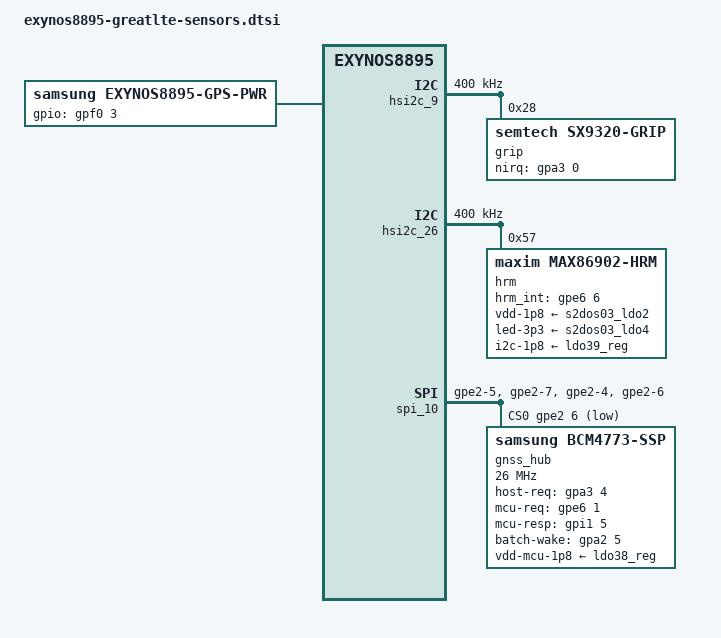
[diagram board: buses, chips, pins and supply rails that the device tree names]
// SPDX-License-Identifier: GPL-2.0 OR BSD-3-Clause
/*
 * Samsung Galaxy Note 8 (SM-N950N) sensors
 */

#include <dt-bindings/gpio/gpio.h>

/ {
	gps-pwr {
		compatible = "samsung,exynos8895-gps-pwr";
		pinctrl-names = "default";
		pinctrl-0 = <&ssp_gps_pwr_en>;
		gpios = <&gpf0 3 GPIO_ACTIVE_HIGH>;
	};
};

&hsi2c_9 {
	#address-cells = <1>;
	#size-cells = <0>;
	clock-frequency = <400000>;
	status = "okay";

	grip@28 {
		compatible = "semtech,sx9320-grip";
		reg = <0x28>;
		pinctrl-names = "default";
		pinctrl-0 = <&grip_irq>;
		sx9320,nirq-gpio = <&gpa3 0 GPIO_ACTIVE_HIGH>;
		sx9320,phen = <0x03>;
		sx9320,gain = <0x01>;
		sx9320,again = <0x08>;
		sx9320,scan_period = <0x16>;
		sx9320,range = <0x00>;
		sx9320,sampling_freq = <0x05>;
		sx9320,resolution = <0x07>;
		sx9320,rawfilt = <0x01>;
		sx9320,hyst = <0x01>;
		sx9320,avgposfilt = <0x04>;
		sx9320,avgnegfilt = <0x01>;
		sx9320,avgthresh = <0x20>;
		sx9320,debouncer = <0x01>;
		sx9320,normal_thd = <0x1b>;
		sx9320,afeph0 = <0x00>;
		sx9320,afeph1 = <0x00>;
		sx9320,afeph2 = <0x00>;
		sx9320,afeph3 = <0x04>;
	};
};

&hsi2c_26 {
	#address-cells = <1>;
	#size-cells = <0>;
	clock-frequency = <400000>;
	status = "okay";

	hrm@57 {
		compatible = "maxim,max86902-hrm";
		reg = <0x57>;
		pinctrl-names = "default", "sleep", "idle";
		pinctrl-0 = <&hrm_irq>;
		pinctrl-1 = <&hrm_irqsleep>;
		pinctrl-2 = <&hrm_irqidle>;
		hrmsensor,hrm_int-gpio = <&gpe6 6 GPIO_ACTIVE_HIGH>;
		hrmsensor,vdd_1p8 = "HRM_1.8V_AP";
		hrmsensor,led_3p3 = "HRM_3.3V_AP";
		hrmsensor,i2c_1p8 = "VDD_NFC_1P8";
		vdd-1p8-supply = <&s2dos03_ldo2>;
		led-3p3-supply = <&s2dos03_ldo4>;
		i2c-1p8-supply = <&ldo39_reg>;
	};
};

&pinctrl_alive {
	ssp_host_req: ssp-host-req-pins {
		samsung,pins = "gpa3-4";
		samsung,pin-function = <EXYNOS_PIN_FUNC_EINT>;
		samsung,pin-pud = <EXYNOS_PIN_PULL_DOWN>;
		samsung,pin-drv = <EXYNOS7_PIN_DRV_LV4>;
	};

	ssp_batch_wake_irq: ssp-batch-wake-irq-pins {
		samsung,pins = "gpa2-5";
		samsung,pin-function = <EXYNOS_PIN_FUNC_EINT>;
		samsung,pin-pud = <EXYNOS_PIN_PULL_NONE>;
		samsung,pin-drv = <EXYNOS7_PIN_DRV_LV4>;
	};

	grip_irq: grip-irq-pins {
		samsung,pins = "gpa3-0";
		samsung,pin-function = <EXYNOS_PIN_FUNC_EINT>;
		samsung,pin-pud = <EXYNOS_PIN_PULL_NONE>;
		samsung,pin-drv = <EXYNOS7_PIN_DRV_LV4>;
	};
};

&pinctrl_fsys0 {
	ssp_mcu_resp: ssp-mcu-resp-pins {
		samsung,pins = "gpi1-5";
		samsung,pin-function = <EXYNOS_PIN_FUNC_INPUT>;
		samsung,pin-pud = <EXYNOS_PIN_PULL_UP>;
		samsung,pin-drv = <EXYNOS7_PIN_DRV_LV4>;
	};
};

&pinctrl_peric1 {
	ssp_spi_clk_mosi: ssp-spi-clk-mosi-pins {
		samsung,pins = "gpe2-5", "gpe2-7";
		samsung,pin-function = <EXYNOS_PIN_FUNC_2>;
		samsung,pin-pud = <EXYNOS_PIN_PULL_NONE>;
		samsung,pin-drv = <EXYNOS7_PIN_DRV_LV4>;
	};

	ssp_spi_cs: ssp-spi-cs-pins {
		samsung,pins = "gpe2-6";
		samsung,pin-function = <EXYNOS_PIN_FUNC_OUTPUT>;
		samsung,pin-pud = <EXYNOS_PIN_PULL_NONE>;
		samsung,pin-drv = <EXYNOS7_PIN_DRV_LV4>;
	};

	ssp_spi_miso: ssp-spi-miso-pins {
		samsung,pins = "gpe2-4";
		samsung,pin-function = <EXYNOS_PIN_FUNC_2>;
		samsung,pin-pud = <EXYNOS_PIN_PULL_DOWN>;
		samsung,pin-drv = <EXYNOS7_PIN_DRV_LV4>;
	};

	ssp_mcu_req: ssp-mcu-req-pins {
		samsung,pins = "gpe6-1";
		samsung,pin-function = <EXYNOS_PIN_FUNC_OUTPUT>;
		samsung,pin-pud = <EXYNOS_PIN_PULL_NONE>;
		samsung,pin-drv = <EXYNOS7_PIN_DRV_LV4>;
	};

	ssp_gps_pwr_en: ssp-gps-pwr-en-pins {
		samsung,pins = "gpf0-3";
		samsung,pin-function = <EXYNOS_PIN_FUNC_OUTPUT>;
		samsung,pin-pud = <EXYNOS_PIN_PULL_DOWN>;
		samsung,pin-drv = <EXYNOS7_PIN_DRV_LV4>;
		samsung,pin-con-pdn = <EXYNOS_PIN_PDN_PREV>;
		samsung,pin-pud-pdn = <EXYNOS_PIN_PULL_NONE>;
	};

	hrm_irq: hrm-irq-pins {
		samsung,pins = "gpe6-6";
		samsung,pin-function = <EXYNOS_PIN_FUNC_INPUT>;
		samsung,pin-pud = <EXYNOS_PIN_PULL_NONE>;
		samsung,pin-drv = <EXYNOS7_PIN_DRV_LV4>;
	};

	hrm_irqsleep: hrm-irqsleep-pins {
		samsung,pins = "gpe6-6";
		samsung,pin-function = <EXYNOS_PIN_FUNC_EINT>;
		samsung,pin-pud = <EXYNOS_PIN_PULL_NONE>;
		samsung,pin-drv = <EXYNOS7_PIN_DRV_LV4>;
	};

	hrm_irqidle: hrm-irqidle-pins {
		samsung,pins = "gpe6-6";
		samsung,pin-function = <EXYNOS_PIN_FUNC_EINT>;
		samsung,pin-pud = <EXYNOS_PIN_PULL_NONE>;
		samsung,pin-drv = <EXYNOS7_PIN_DRV_LV4>;
	};
};

&spi_10 {
	pinctrl-names = "default";
	pinctrl-0 = <&ssp_spi_clk_mosi &ssp_spi_miso &ssp_spi_cs>;
	cs-gpios = <&gpe2 6 GPIO_ACTIVE_LOW>;
	num-cs = <1>;
	assigned-clocks = <&cmu_top CLK_MOUT_CMU_PERIC1_USI08>,
			  <&cmu_top CLK_DOUT_CMU_PERIC1_USI08>,
			  <&cmu_peric1 CLK_MOUT_PERIC1_USI08_USER>;
	assigned-clock-parents = <&cmu_top CLK_DOUT_CMU_SHARED2_DIV2>,
				 <0>,
				 <&cmu_top CLK_DOUT_CMU_PERIC1_USI08>;
	assigned-clock-rates = <0>, <50000000>, <0>;
	status = "okay";

	gnss_hub: gnss-hub@0 {
		compatible = "samsung,bcm4773-ssp";
		reg = <0>;
		spi-max-frequency = <26000000>;
		spi-cpol;
		spi-cpha;
		pinctrl-names = "default";
		pinctrl-0 = <&ssp_host_req &ssp_mcu_req &ssp_mcu_resp &ssp_batch_wake_irq>;
		host-req-gpios = <&gpa3 4 GPIO_ACTIVE_HIGH>;
		mcu-req-gpios = <&gpe6 1 GPIO_ACTIVE_HIGH>;
		mcu-resp-gpios = <&gpi1 5 GPIO_ACTIVE_HIGH>;
		batch-wake-gpios = <&gpa2 5 GPIO_ACTIVE_HIGH>;
		vdd-mcu-1p8-supply = <&ldo38_reg>;
		ssp-acc-position = <3>;
		ssp-mag-position = <6>;
		ssp-sns-combination = <0>;
		ssp-ap-rev = <1>;
		ssp-mag-array = [1b 56 86 0d 25 f0 fe 82 d4 36 ef 55 28 1c 01 e8 f4 68 57 79 ba fe d3 85 0a 4d 95];
		ssp-glass-type = <0>;
		ssp-mag-type = <1>;

		controller-data {
			samsung,spi-feedback-delay = <0>;
		};
	};
};
